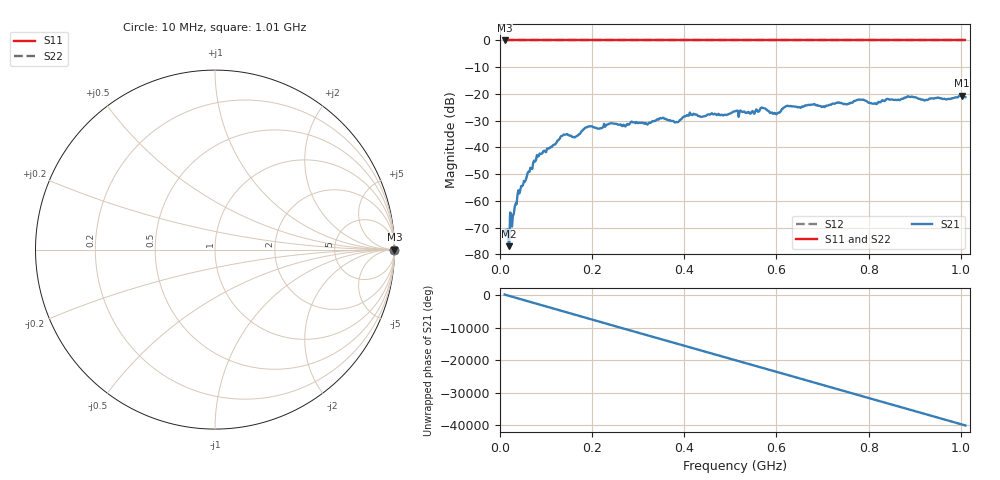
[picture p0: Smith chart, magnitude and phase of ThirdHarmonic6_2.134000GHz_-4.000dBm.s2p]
! 8/17/2025 1:29:44 AM
! C:\ANRITSUVNA\TEMP\TEMP.S2P
! CHANNEL.1
! TR.MEASUREMENT
! RAW.DATA
! RF.CORRECTION.OFF
! AVERAGING.OFF
! IF.BANDWIDTH: 5KHZ
! SWEEPTYPE:  FREQ.SWEEP(Linear)
! Reference Plane Port Info
! PORT:  PORT1  PORT2
! DISTANCE:  0  m  0  m
! TIME:  0  s  0  s
! PHASE.OFFSET:  0  deg.  0  deg.
! LOSS:  0  dB  0  dB
! REF.LOSS:  0  dB  0  dB
! REF.FREQ:  0  Hz  0  Hz
! Power Info
! POWER:  -20  dBm  -20  dBm
! EFF.POWER:  -20  dBm  -20  dBm
! SOURCE.ATTEN:  0  dB  0  dB
! TEST.ATTEN:  0  dB  0  dB
# GHZ S RI R 50.0
! FREQ.GHZ  S11RE  S11IM  S21RE  S21IM  S12RE  S12IM  S22RE  S22IM
!; PortSelection: Port_12
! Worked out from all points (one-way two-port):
!   501 points, 10 MHz to 1.01 GHz, reference 50 ohm
!   highest |S21| = -20.60 dB at 1.002 GHz (marker M1); lowest = -77.0 dB at 20 MHz (marker M2)
!   lowest |S11| = 0.0 dB at 10 MHz (marker M3)
!   |S11| at or under -10 dB: nowhere
!   |S22| runs from 0.0 to 0.0 dB; largest |S21 - S12| = 1.1
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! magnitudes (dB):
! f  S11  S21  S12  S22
! 10 MHz  0.0  -71.1  0.0  0.0
! 16 MHz  0.0  -70.7  0.0  0.0
! 20 MHz  0.0  -77.0  0.0  0.0
! 42 MHz  0.0  -57.2  0.0  0.0
! 84 MHz  0.0  -43.3  0.0  0.0
! 136 MHz  0.0  -35.6  0.0  0.0
! 162 MHz  0.0  -36.3  0.0  0.0
! 178 MHz  0.0  -33.8  0.0  0.0
! 196 MHz  0.0  -32.1  0.0  0.0
! 344 MHz  0.0  -29.6  0.0  0.0
! 384 MHz  0.0  -30.5  0.0  0.0
! 416 MHz  0.0  -27.9  0.0  0.0
! 510 MHz  0.0  -26.5  0.0  0.0
! 570 MHz  0.0  -25.3  0.0  0.0
! 598 MHz  0.0  -27.3  0.0  0.0
! 622 MHz  0.0  -24.5  0.0  0.0
! 678 MHz  0.0  -24.0  0.0  0.0
! 784 MHz  0.0  -22.2  0.0  0.0
! 814 MHz  0.0  -23.5  0.0  0.0
! 844 MHz  0.0  -22.0  0.0  0.0
! 1.002 GHz  0.0  -20.6  0.0  0.0
! 1.01 GHz  0.0  -21.2  0.0  0.0
